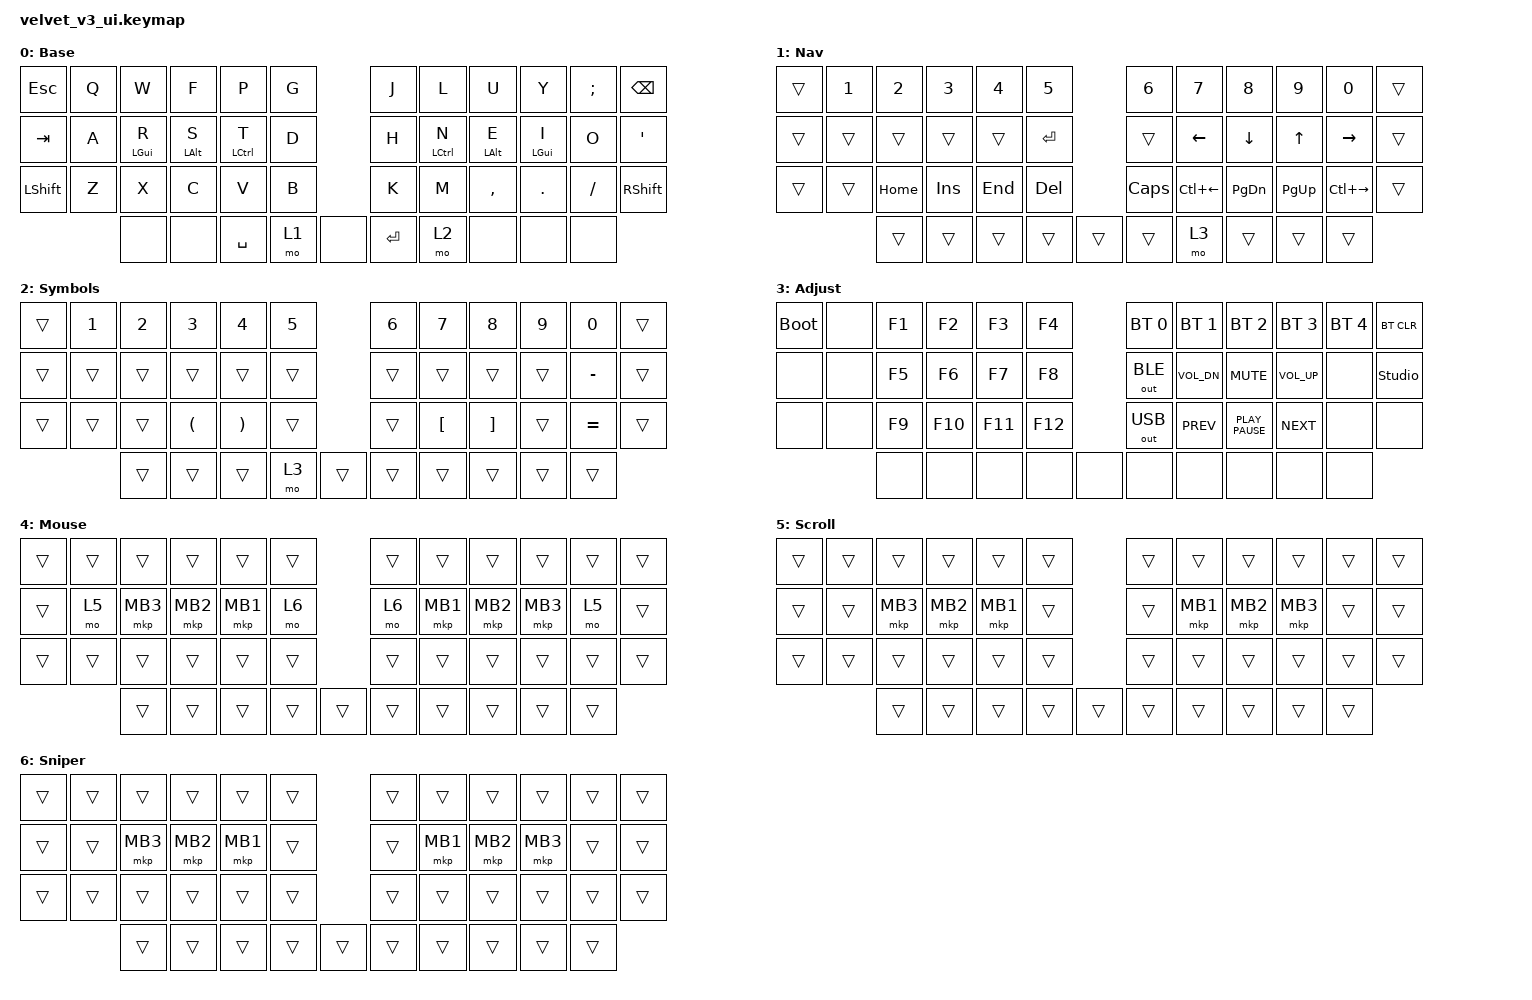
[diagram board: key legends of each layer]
#include "keys_ru.h"
#include <behaviors.dtsi>
#include <dt-bindings/zmk/input_transform.h>
#include <input/processors.dtsi>
#include <zephyr/dt-bindings/input/input-event-codes.h>

#include <dt-bindings/zmk/keys.h>

#include <dt-bindings/zmk/bt.h>
#include <dt-bindings/zmk/outputs.h>
#include <dt-bindings/zmk/pointing.h>

#define QUICK_TAP_MS 175

// Key position groups for hold-tap
#define KEYS_L 0 1 2 3 4 5 12 13 14 15 16 17 24 25 26 27 28 29
#define KEYS_R 6 7 8 9 10 11 18 19 20 21 22 23 30 31 32 33 34 35
#define THUMBS 36 37 38 39 40 41 42 43 44 45

/ {
    behaviors {
        // TODO: Investigate, this is probably trackball related
        cap_sen: cap_sen {
            compatible = "zmk,behavior-hold-tap";
            label = "CAP_SEN";
            bindings = <&mo>, <&mkp>;

            #binding-cells = <2>;
            tapping-term-ms = <150>;
            hold-while-undecided;
        };

        mouse_layer: mouse_layer {
            compatible = "zmk,behavior-sticky-key";
            label = "MOUSE_LAYER";
            bindings = <&mo>;
            #binding-cells = <1>;
            release-after-ms = <200>;
        };

        zip_auto_mouse: zip_auto_mouse {
            compatible = "zmk,input-processor-temp-layer";
            #input-processor-cells = <2>;
            require-prior-idle-ms = <800>;
            excluded-positions = <>;
        };

        hml: hml {
            compatible = "zmk,behavior-hold-tap";
            #binding-cells = <2>;
            bindings = <&kp>, <&kp>;
            flavor = "balanced";
            tapping-term-ms = <280>;
            quick-tap-ms = <QUICK_TAP_MS>;
            require-prior-idle-ms = <150>;
            hold-trigger-on-release;
            hold-trigger-key-positions = <KEYS_R THUMBS>;
        };

        hmr: hmr {
            compatible = "zmk,behavior-hold-tap";
            #binding-cells = <2>;
            bindings = <&kp>, <&kp>;
            flavor = "balanced";
            tapping-term-ms = <280>;
            quick-tap-ms = <QUICK_TAP_MS>;
            require-prior-idle-ms = <150>;
            hold-trigger-on-release;
            hold-trigger-key-positions = <KEYS_L THUMBS>;
        };
    };

    keymap {
        compatible = "zmk,keymap";

        base {
            bindings = <
&kp ESC     &kp Q  &kp W         &kp F        &kp P         &kp G                        &kp J  &kp L         &kp U        &kp Y        &kp SEMI  &kp BSPC
&kp TAB     &kp A  &hml LGUI R   &hml LALT S  &hml LCTRL T  &kp D                        &kp H  &hmr LCTRL N  &hmr LALT E  &hmr LGUI I  &kp O     &kp SQT
&kp LSHIFT  &kp Z  &kp X         &kp C        &kp V         &kp B                        &kp K  &kp M         &kp COMMA    &kp DOT      &kp FSLH  &kp RSHIFT
                   &none         &none        &kp SPACE     &mo 1  &none        &kp RET  &mo 2  &none         &none        &none
            >;

            display-name = "Base";
        };

        nav {
            bindings = <
&trans  &kp N1  &kp N2    &kp N3   &kp N4   &kp N5                     &kp N6    &kp N7        &kp N8         &kp N9       &kp N0         &trans
&trans  &trans  &trans    &trans   &trans   &kp RET                    &trans    &kp LEFT      &kp DOWN       &kp UP       &kp RIGHT      &trans
&trans  &trans  &kp HOME  &kp INS  &kp END  &kp DEL                    &kp CLCK  &kp LC(LEFT)  &kp PAGE_DOWN  &kp PAGE_UP  &kp LC(RIGHT)  &trans
                &trans    &trans   &trans   &trans   &trans    &trans  &mo 3     &trans        &trans         &trans
            >;

            display-name = "Nav";
        };

        sym {
            bindings = <
&trans  &kp N1     &kp N2      &kp N3    &kp N4    &kp N5                       &kp N6    &kp N7        &kp N8         &kp N9       &kp N0          &trans
&trans  &trans     &trans      &trans    &trans    &trans                       &trans    &trans        &trans         &trans       &kp MINUS       &trans
&trans  &trans     &trans      &kp LPAR  &kp RPAR  &trans                       &trans    &kp LBKT      &kp RBKT       &trans       &kp EQUAL       &trans
                   &trans      &trans    &trans    &mo 3   &trans      &trans   &trans    &trans        &trans         &trans
            >;

            display-name = "Symbols";
        };

        adj {
            bindings = <
&bootloader  &none  &kp F1  &kp F2   &kp F3   &kp F4                   &bt BT_SEL 0  &bt BT_SEL 1  &bt BT_SEL 2      &bt BT_SEL 3  &bt BT_SEL 4  &bt BT_CLR
&none        &none  &kp F5  &kp F6   &kp F7   &kp F8                   &out OUT_BLE  &kp C_VOL_DN  &kp K_MUTE        &kp C_VOL_UP  &none         &studio_unlock
&none        &none  &kp F9  &kp F10  &kp F11  &kp F12                  &out OUT_USB  &kp K_PREV    &kp K_PLAY_PAUSE  &kp K_NEXT    &none         &none
                    &none   &none    &none    &none    &none    &none  &none         &none         &none             &none
            >;

            display-name = "Adjust";
        };

        mouse {
            bindings = <
&trans  &trans  &trans    &trans    &trans    &trans                    &trans  &trans    &trans    &trans    &trans  &trans
&trans  &mo 5   &mkp MB3  &mkp MB2  &mkp MB1  &mo 6                     &mo 6   &mkp MB1  &mkp MB2  &mkp MB3  &mo 5   &trans
&trans  &trans  &trans    &trans    &trans    &trans                    &trans  &trans    &trans    &trans    &trans  &trans
                &trans    &trans    &trans    &trans  &trans    &trans  &trans  &trans    &trans    &trans
            >;

            display-name = "Mouse";
        };

        scroll {
            bindings = <
&trans  &trans  &trans    &trans    &trans    &trans                    &trans  &trans    &trans    &trans    &trans  &trans
&trans  &trans  &mkp MB3  &mkp MB2  &mkp MB1  &trans                    &trans  &mkp MB1  &mkp MB2  &mkp MB3  &trans  &trans
&trans  &trans  &trans    &trans    &trans    &trans                    &trans  &trans    &trans    &trans    &trans  &trans
                &trans    &trans    &trans    &trans  &trans    &trans  &trans  &trans    &trans    &trans
            >;

            display-name = "Scroll";
        };

        sniper {
            bindings = <
&trans  &trans  &trans    &trans    &trans    &trans                    &trans  &trans    &trans    &trans    &trans  &trans
&trans  &trans  &mkp MB3  &mkp MB2  &mkp MB1  &trans                    &trans  &mkp MB1  &mkp MB2  &mkp MB3  &trans  &trans
&trans  &trans  &trans    &trans    &trans    &trans                    &trans  &trans    &trans    &trans    &trans  &trans
                &trans    &trans    &trans    &trans  &trans    &trans  &trans  &trans    &trans    &trans
            >;

            display-name = "Sniper";
        };
    };
};

&trackball { cpi = <1000>; };

&trackball_listener {
    input-processors = <&zip_auto_mouse 4 500>, <&zip_xy_scaler 9 20>;

    scroller {
        layers = <5>;
        input-processors =
            <&zip_xy_transform INPUT_TRANSFORM_Y_INVERT>,
            <&zip_xy_scaler 1 32>,
            <&zip_xy_to_scroll_mapper>;
    };

    sniper {
        layers = <6>;
        input-processors = <&zip_xy_scaler 1 4>;
    };
};
